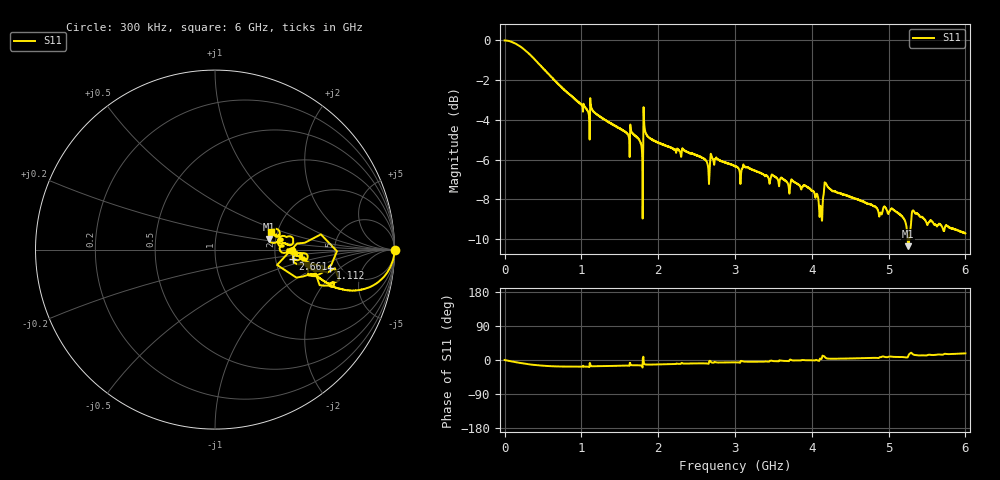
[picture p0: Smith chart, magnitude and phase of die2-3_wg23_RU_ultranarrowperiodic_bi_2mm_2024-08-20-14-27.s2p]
!Keysight Technologies,P9374A,MY57304198,A.17.20.09
!Date: Tuesday, August 20, 2024 14:27:22
!Correction: S11(C  1-Port  )
!S21(C  1-Port  )
!S12(Off)
!S22(Off)
!S2P File: Measurements: S11, S21, S12, S22:
# Hz S  dB  R 50
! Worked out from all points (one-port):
!   6000 points, 300 kHz to 6 GHz, reference 50 ohm
!   lowest |S11| = -10.4 dB at 5.257 GHz (marker M1), VSWR 1.87, Z = 91.5 + j11.6 ohm
!   |S11| at or under -10 dB: 5.24814 GHz to 5.26977 GHz (21.63 MHz wide, 0.411 % of centre)
!   S11 on the Smith chart (normalised r, x): 300 kHz: open; 1.112 GHz: 4.14, -1.47; 2.661 GHz: 2.49, -0.33; 6 GHz: 1.85, +0.41
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300000  0.00 -0.0  -200.00 45.0  -200.00 45.0  -200.00 45.0
2.273265e8  -0.37 -8.6  -200.00 45.0  -200.00 45.0  -200.00 45.0
4.073475e8  -1.01 -13.5  -200.00 45.0  -200.00 45.0  -200.00 45.0
1.000417e9  -3.24 -17.6  -200.00 45.0  -200.00 45.0  -200.00 45.0
1.11243e9  -3.76 -9.1  -200.00 45.0  -200.00 45.0  -200.00 45.0
1.664494e9  -4.66 -13.9  -200.00 45.0  -200.00 45.0  -200.00 45.0
1.775507e9  -5.20 -14.4  -200.00 45.0  -200.00 45.0  -200.00 45.0
1.827513e9  -4.50 -11.4  -200.00 45.0  -200.00 45.0  -200.00 45.0
1.836514e9  -4.65 -11.8  -200.00 45.0  -200.00 45.0  -200.00 45.0
2.000533e9  -5.14 -11.7  -200.00 45.0  -200.00 45.0  -200.00 45.0
2.66061e9  -7.22 -7.1  -200.00 45.0  -200.00 45.0  -200.00 45.0
3.00065e9  -6.33 -6.2  -200.00 45.0  -200.00 45.0  -200.00 45.0
4.000767e9  -7.57 -0.6  -200.00 45.0  -200.00 45.0  -200.00 45.0
4.11478e9  -8.32 3.0  -200.00 45.0  -200.00 45.0  -200.00 45.0
4.160785e9  -7.44 10.0  -200.00 45.0  -200.00 45.0  -200.00 45.0
4.255796e9  -7.54 3.3  -200.00 45.0  -200.00 45.0  -200.00 45.0
5.000883e9  -8.70 8.9  -200.00 45.0  -200.00 45.0  -200.00 45.0
5.178904e9  -8.87 7.9  -200.00 45.0  -200.00 45.0  -200.00 45.0
5.256913e9  -10.35 10.9  -200.00 45.0  -200.00 45.0  -200.00 45.0
5.291917e9  -9.22 19.2  -200.00 45.0  -200.00 45.0  -200.00 45.0
5.331922e9  -8.62 13.7  -200.00 45.0  -200.00 45.0  -200.00 45.0
6e9  -9.70 17.6  -200.00 45.0  -200.00 45.0  -200.00 45.0
